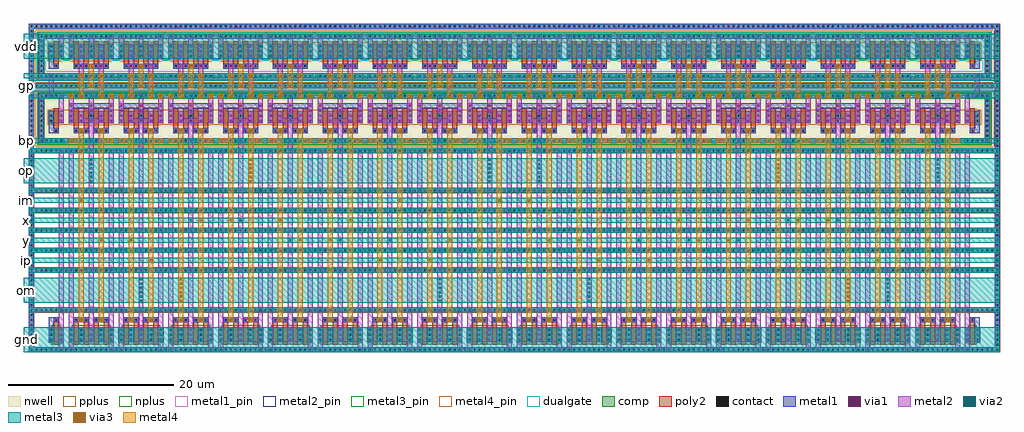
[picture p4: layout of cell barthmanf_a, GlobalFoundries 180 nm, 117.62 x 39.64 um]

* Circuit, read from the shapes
.subckt barthmanf_a bp gnd gp im ip om op vdd vreg x y
XM1 gnd barthmanf_edge_1/lo barthmanf_edge_1/lo gnd nfet_03v3 w=1.8u l=0.6u
XM2 barthmanf_cell_0/d1 im gnd gnd nfet_03v3 w=1.8u l=0.6u
XM3 op im barthmanf_cell_0/d1 gnd nfet_03v3 w=1.8u l=0.6u
XM4 barthmanf_cell_0/d2 y op gnd nfet_03v3 w=1.8u l=0.6u
XM5 gnd y barthmanf_cell_0/d2 gnd nfet_03v3 w=1.8u l=0.6u
XM6 barthmanf_cell_2/d1 y gnd gnd nfet_03v3 w=1.8u l=0.6u
XM7 om y barthmanf_cell_2/d1 gnd nfet_03v3 w=1.8u l=0.6u
XM8 barthmanf_cell_2/d2 ip om gnd nfet_03v3 w=1.8u l=0.6u
XM9 gnd ip barthmanf_cell_2/d2 gnd nfet_03v3 w=1.8u l=0.6u
XM10 barthmanf_cell_3/d1 om gnd gnd nfet_03v3 w=1.8u l=0.6u
XM11 x om barthmanf_cell_3/d1 gnd nfet_03v3 w=1.8u l=0.6u
XM12 barthmanf_cell_3/d2 x x gnd nfet_03v3 w=1.8u l=0.6u
XM13 gnd x barthmanf_cell_3/d2 gnd nfet_03v3 w=1.8u l=0.6u
XM14 barthmanf_cell_4/d1 x gnd gnd nfet_03v3 w=1.8u l=0.6u
XM15 x x barthmanf_cell_4/d1 gnd nfet_03v3 w=1.8u l=0.6u
XM16 barthmanf_cell_4/d2 op x gnd nfet_03v3 w=1.8u l=0.6u
XM17 gnd op barthmanf_cell_4/d2 gnd nfet_03v3 w=1.8u l=0.6u
XM18 barthmanf_cell_5/d1 x gnd gnd nfet_03v3 w=1.8u l=0.6u
XM19 y x barthmanf_cell_5/d1 gnd nfet_03v3 w=1.8u l=0.6u
XM20 barthmanf_cell_5/d2 y y gnd nfet_03v3 w=1.8u l=0.6u
XM21 gnd y barthmanf_cell_5/d2 gnd nfet_03v3 w=1.8u l=0.6u
XM22 barthmanf_cell_6/d1 y gnd gnd nfet_03v3 w=1.8u l=0.6u
XM23 y y barthmanf_cell_6/d1 gnd nfet_03v3 w=1.8u l=0.6u
XM24 barthmanf_cell_6/d2 x y gnd nfet_03v3 w=1.8u l=0.6u
XM25 gnd x barthmanf_cell_6/d2 gnd nfet_03v3 w=1.8u l=0.6u
XM26 barthmanf_cell_7/d1 ip gnd gnd nfet_03v3 w=1.8u l=0.6u
XM27 y ip barthmanf_cell_7/d1 gnd nfet_03v3 w=1.8u l=0.6u
XM28 barthmanf_cell_7/d2 im y gnd nfet_03v3 w=1.8u l=0.6u
XM29 gnd im barthmanf_cell_7/d2 gnd nfet_03v3 w=1.8u l=0.6u
XM30 barthmanf_cell_8/d1 ip gnd gnd nfet_03v3 w=1.8u l=0.6u
XM31 om ip barthmanf_cell_8/d1 gnd nfet_03v3 w=1.8u l=0.6u
XM32 barthmanf_cell_8/d2 y om gnd nfet_03v3 w=1.8u l=0.6u
XM33 gnd y barthmanf_cell_8/d2 gnd nfet_03v3 w=1.8u l=0.6u
XM34 barthmanf_cell_9/d1 y gnd gnd nfet_03v3 w=1.8u l=0.6u
XM35 op y barthmanf_cell_9/d1 gnd nfet_03v3 w=1.8u l=0.6u
XM36 barthmanf_cell_9/d2 im op gnd nfet_03v3 w=1.8u l=0.6u
XM37 gnd im barthmanf_cell_9/d2 gnd nfet_03v3 w=1.8u l=0.6u
XM38 barthmanf_cell_10/d2 im gnd gnd nfet_03v3 w=1.8u l=0.6u
XM39 op im barthmanf_cell_10/d2 gnd nfet_03v3 w=1.8u l=0.6u
XM40 barthmanf_cell_10/d1 y op gnd nfet_03v3 w=1.8u l=0.6u
XM41 gnd y barthmanf_cell_10/d1 gnd nfet_03v3 w=1.8u l=0.6u
XM42 barthmanf_cell_11/d2 y gnd gnd nfet_03v3 w=1.8u l=0.6u
XM43 om y barthmanf_cell_11/d2 gnd nfet_03v3 w=1.8u l=0.6u
XM44 barthmanf_cell_11/d1 ip om gnd nfet_03v3 w=1.8u l=0.6u
XM45 gnd ip barthmanf_cell_11/d1 gnd nfet_03v3 w=1.8u l=0.6u
XM46 barthmanf_cell_12/d2 im gnd gnd nfet_03v3 w=1.8u l=0.6u
XM47 y im barthmanf_cell_12/d2 gnd nfet_03v3 w=1.8u l=0.6u
XM48 barthmanf_cell_12/d1 ip y gnd nfet_03v3 w=1.8u l=0.6u
XM49 gnd ip barthmanf_cell_12/d1 gnd nfet_03v3 w=1.8u l=0.6u
XM50 barthmanf_cell_13/d2 x gnd gnd nfet_03v3 w=1.8u l=0.6u
XM51 y x barthmanf_cell_13/d2 gnd nfet_03v3 w=1.8u l=0.6u
XM52 barthmanf_cell_13/d1 y y gnd nfet_03v3 w=1.8u l=0.6u
XM53 gnd y barthmanf_cell_13/d1 gnd nfet_03v3 w=1.8u l=0.6u
XM54 barthmanf_cell_14/d2 y gnd gnd nfet_03v3 w=1.8u l=0.6u
XM55 y y barthmanf_cell_14/d2 gnd nfet_03v3 w=1.8u l=0.6u
XM56 barthmanf_cell_14/d1 x y gnd nfet_03v3 w=1.8u l=0.6u
XM57 gnd x barthmanf_cell_14/d1 gnd nfet_03v3 w=1.8u l=0.6u
XM58 barthmanf_cell_15/d2 op gnd gnd nfet_03v3 w=1.8u l=0.6u
XM59 x op barthmanf_cell_15/d2 gnd nfet_03v3 w=1.8u l=0.6u
XM60 barthmanf_cell_15/d1 x x gnd nfet_03v3 w=1.8u l=0.6u
XM61 gnd x barthmanf_cell_15/d1 gnd nfet_03v3 w=1.8u l=0.6u
XM62 barthmanf_cell_16/d2 x gnd gnd nfet_03v3 w=1.8u l=0.6u
XM63 x x barthmanf_cell_16/d2 gnd nfet_03v3 w=1.8u l=0.6u
XM64 barthmanf_cell_16/d1 om x gnd nfet_03v3 w=1.8u l=0.6u
XM65 gnd om barthmanf_cell_16/d1 gnd nfet_03v3 w=1.8u l=0.6u
XM66 barthmanf_cell_17/d2 ip gnd gnd nfet_03v3 w=1.8u l=0.6u
XM67 om ip barthmanf_cell_17/d2 gnd nfet_03v3 w=1.8u l=0.6u
XM68 barthmanf_cell_17/d1 y om gnd nfet_03v3 w=1.8u l=0.6u
XM69 gnd y barthmanf_cell_17/d1 gnd nfet_03v3 w=1.8u l=0.6u
XM70 barthmanf_cell_18/d2 y gnd gnd nfet_03v3 w=1.8u l=0.6u
XM71 op y barthmanf_cell_18/d2 gnd nfet_03v3 w=1.8u l=0.6u
XM72 barthmanf_cell_18/d1 im op gnd nfet_03v3 w=1.8u l=0.6u
XM73 gnd im barthmanf_cell_18/d1 gnd nfet_03v3 w=1.8u l=0.6u
XM74 barthmanf_edge_19/lo barthmanf_edge_19/lo gnd gnd nfet_03v3 w=1.8u l=0.6u
XM75 vreg barthmanf_edge_1/hi barthmanf_edge_1/hi bp pfet_03v3 w=1.5u l=0.6u
XM76 vdd barthmanf_edge_1/hih barthmanf_edge_1/hih vdd pfet_06v0 w=1.8u l=0.6u
XM77 op im vreg bp pfet_03v3 w=1.5u l=0.6u m=8
XM78 vreg gp vdd vdd pfet_06v0 w=1.8u l=0.6u m=72
XM79 op y vreg bp pfet_03v3 w=1.5u l=0.6u m=8
XM80 om y vreg bp pfet_03v3 w=1.5u l=0.6u m=8
XM81 om ip vreg bp pfet_03v3 w=1.5u l=0.6u m=8
XM82 x om vreg bp pfet_03v3 w=1.5u l=0.6u m=4
XM83 x x vreg bp pfet_03v3 w=1.5u l=0.6u m=8
XM84 x op vreg bp pfet_03v3 w=1.5u l=0.6u m=4
XM85 y x vreg bp pfet_03v3 w=1.5u l=0.6u m=8
XM86 y y vreg bp pfet_03v3 w=1.5u l=0.6u m=8
XM87 y ip vreg bp pfet_03v3 w=1.5u l=0.6u m=4
XM88 y im vreg bp pfet_03v3 w=1.5u l=0.6u m=4
XM89 barthmanf_edge_19/hi barthmanf_edge_19/hi vreg bp pfet_03v3 w=1.5u l=0.6u
XM90 barthmanf_edge_19/hih barthmanf_edge_19/hih vdd vdd pfet_06v0 w=1.8u l=0.6u
.ends

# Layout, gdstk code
from math import pi, radians
import gdstk
lib = gdstk.Library(unit=1e-6, precision=1e-09)
def R(c, l, rs):  # rectangles x0, y0, x1, y1
    for r in rs: c.add(gdstk.rectangle(r[:2], r[2:], *l))
def A(c, l, x, y, w, h, nx, ny, dx, dy):  # array of equal rectangles
    R(c, l, [(x+i*dx, y+j*dy, x+i*dx+w, y+j*dy+h) for i in range(nx) for j in range(ny)])
nwell = (21, 0)
comp = (22, 0)
poly2 = (30, 0)
pplus = (31, 0)
nplus = (32, 0)
contact = (33, 0)
metal1 = (34, 0)
metal1_pin = (34, 10)
via1 = (35, 0)
metal2 = (36, 0)
metal2_pin = (36, 10)
via2 = (38, 0)
via3 = (40, 0)
metal3 = (42, 0)
metal3_pin = (42, 10)
metal4 = (46, 0)
metal4_pin = (46, 10)
dualgate = (55, 0)

barthmanf_cell = lib.new_cell('barthmanf_cell')
R(barthmanf_cell, nwell, [(-36,18.3,-29.4,24.9), (-36,26.1,-29.4,32.1)])
A(barthmanf_cell, comp, -36, -6.6, 6.6, 0.6, 1, 3, 0, 4.8)
A(barthmanf_cell, comp, -36, 5.4, 6.6, 0.6, 1, 4, 0, 2.4)
R(barthmanf_cell, comp, [(-35.4,-5.4,-30,-3.6), (-36,17.4,-29.4,18), (-35.4,18.6,-30,19.2), (-35.4,21,-30,22.5), (-35.4,24,-30,24.6), (-36,25.2,-29.4,25.8), (-35.4,26.4,-30,27), (-35.4,28.8,-30,30.6), (-35.4,31.2,-30,31.8), (-36,32.4,-29.4,33)])
A(barthmanf_cell, poly2, -34.8, -5.7, 0.6, 2.7, 4, 2, 1.2, 33.9)
A(barthmanf_cell, poly2, -34.8, 20.4, 0.6, 2.4, 4, 1, 1.2, 0)
R(barthmanf_cell, poly2, [(-34.8,-3,-33,-2.4), (-32.4,-3,-30.6,-2.4), (-34.8,19.8,-33,20.4), (-32.4,19.8,-30.6,20.4), (-34.8,27.6,-30.6,28.2)])
A(barthmanf_cell, pplus, -36.02, -6.62, 6.64, 0.64, 1, 3, 0, 4.8)
A(barthmanf_cell, pplus, -36.02, 5.38, 6.64, 0.64, 1, 4, 0, 2.4)
R(barthmanf_cell, pplus, [(-36.02,17.38,-29.38,17.71), (-36.16,17.71,-29.24,18.16), (-35.03,20.77,-30.37,20.84), (-35.56,20.84,-29.84,22.66), (-35.03,22.66,-30.37,22.73), (-36.16,25.04,-29.24,25.96), (-35.03,28.57,-30.37,28.64), (-35.56,28.64,-29.84,30.76), (-35.03,30.76,-30.37,30.83), (-36.16,32.24,-29.24,32.69), (-36.02,32.69,-29.38,33.02)])
R(barthmanf_cell, nplus, [(-35.03,-5.63,-30.37,-5.42), (-35.42,-5.42,-29.98,-3.58), (-35.03,-3.58,-30.37,-3.37), (-35.56,18.44,-29.84,18.89), (-35.42,18.89,-29.98,19.22), (-35.42,23.98,-29.98,24.31), (-35.56,24.31,-29.84,24.76), (-35.56,26.24,-29.84,26.69), (-35.42,26.69,-29.98,27.02), (-35.42,31.18,-29.98,31.51), (-35.56,31.51,-29.84,31.96)])
A(barthmanf_cell, contact, -35.81, -6.41, 0.22, 0.22, 11, 3, 0.6, 4.8)
A(barthmanf_cell, contact, -35.21, -5.21, 0.22, 0.22, 5, 3, 1.2, 0.6)
A(barthmanf_cell, contact, -34.61, -2.81, 0.22, 0.22, 3, 2, 0.6, 22.8)
A(barthmanf_cell, contact, -32.21, -2.81, 0.22, 0.22, 3, 2, 0.6, 22.8)
A(barthmanf_cell, contact, -35.81, 5.59, 0.22, 0.22, 11, 4, 0.6, 2.4)
A(barthmanf_cell, contact, -35.81, 17.59, 0.22, 0.22, 11, 2, 0.6, 7.8)
A(barthmanf_cell, contact, -35.21, 18.79, 0.22, 0.22, 9, 2, 0.6, 5.4)
A(barthmanf_cell, contact, -35.21, 21.19, 0.22, 0.22, 5, 2, 1.2, 0.6)
A(barthmanf_cell, contact, -35.21, 26.59, 0.22, 0.22, 9, 2, 0.6, 4.8)
A(barthmanf_cell, contact, -34.61, 27.79, 0.22, 0.22, 7, 1, 0.6, 0)
A(barthmanf_cell, contact, -35.21, 28.99, 0.22, 0.22, 5, 3, 1.2, 0.6)
A(barthmanf_cell, contact, -35.81, 32.59, 0.22, 0.22, 11, 1, 0.6, 0)
A(barthmanf_cell, metal1, -36, -6.6, 6.6, 0.6, 1, 3, 0, 4.8)
A(barthmanf_cell, metal1, -35.4, -5.4, 0.6, 1.8, 5, 2, 1.2, 34.2)
A(barthmanf_cell, metal1, -36, 5.4, 6.6, 0.6, 1, 4, 0, 2.4)
A(barthmanf_cell, metal1, -35.4, 21, 0.6, 1.8, 3, 1, 2.4, 0)
A(barthmanf_cell, metal1, -36, 24, 6.6, 0.6, 1, 3, 0, 1.2)
R(barthmanf_cell, metal1, [(-34.8,-3,-33,-2.4), (-32.4,-3,-30.6,-2.4), (-36,17.4,-29.4,18), (-36,18.6,-29.4,19.2), (-34.8,19.8,-33,20.4), (-32.4,19.8,-30.6,20.4), (-34.2,21,-33.6,22.5), (-31.8,21,-31.2,22.5), (-35.4,22.8,-30,23.4), (-34.8,27.6,-30.6,28.2), (-36,31.2,-29.4,31.8), (-36,32.4,-29.4,33)])
R(barthmanf_cell, metal1_pin, [(-36,18.6,-35.4,19.2), (-30,18.6,-29.4,19.2)])
A(barthmanf_cell, via1, -35.23, -6.43, 0.26, 0.26, 1, 3, 0, 4.8)
A(barthmanf_cell, via1, -30.43, -6.43, 0.26, 0.26, 1, 3, 0, 4.8)
A(barthmanf_cell, via1, -35.23, -5.23, 0.26, 0.26, 3, 3, 2.4, 0.6)
A(barthmanf_cell, via1, -35.23, 5.57, 0.26, 0.26, 1, 4, 0, 2.4)
A(barthmanf_cell, via1, -30.43, 5.57, 0.26, 0.26, 1, 4, 0, 2.4)
A(barthmanf_cell, via1, -35.23, 22.37, 0.26, 0.26, 3, 2, 2.4, 0.6)
A(barthmanf_cell, via1, -35.23, 28.97, 0.26, 0.26, 5, 3, 1.2, 0.6)
A(barthmanf_cell, via1, -35.23, 31.37, 0.26, 0.26, 3, 1, 2.4, 0)
R(barthmanf_cell, via1, [(-34.03,-2.83,-33.77,-2.57), (-31.63,-2.83,-31.37,-2.57), (-35.23,17.57,-34.97,17.83), (-30.43,17.57,-30.17,17.83), (-35.23,18.77,-34.97,19.03), (-30.43,18.77,-30.17,19.03), (-34.03,19.97,-33.77,20.23), (-31.63,19.97,-31.37,20.23), (-35.23,21.17,-34.97,21.43), (-34.03,21.17,-33.77,21.43), (-31.63,21.17,-31.37,21.43), (-30.43,21.17,-30.17,21.43), (-35.23,21.77,-34.97,22.03), (-34.03,21.77,-33.77,22.03), (-31.63,21.77,-31.37,22.03), (-30.43,21.77,-30.17,22.03), (-32.83,27.77,-32.57,28.03)])
A(barthmanf_cell, metal2, -35.4, 28.8, 0.6, 3, 3, 1, 2.4, 0)
R(barthmanf_cell, metal2, [(-35.4,-6.6,-34.8,18), (-30.6,-6.6,-30,18), (-33,-5.4,-32.4,21), (-34.2,-3,-33.6,-2.4), (-31.8,-3,-31.2,-2.4), (-35.4,18.6,-34.8,19.2), (-30.6,18.6,-30,19.2), (-34.2,19.8,-33.6,20.4), (-31.8,19.8,-31.2,20.4), (-35.4,21,-34.8,24.6), (-34.2,21,-31.2,21.6), (-30.6,21,-30,24.6), (-34.2,21.6,-33.6,22.5), (-31.8,21.6,-31.2,22.5), (-33,22.2,-32.4,24.6), (-34.2,24,-33.6,30.6), (-31.8,24,-31.2,30.6), (-33,27.6,-32.4,28.2)])
R(barthmanf_cell, metal2_pin, [(-33,-0.6,-32.4,16.8)])
A(barthmanf_cell, via2, -35.23, -5.23, 0.26, 0.26, 1, 3, 0, 0.6)
A(barthmanf_cell, via2, -30.43, -5.23, 0.26, 0.26, 1, 3, 0, 0.6)
A(barthmanf_cell, via2, -35.23, 3.17, 0.26, 0.26, 1, 5, 0, 2.4)
A(barthmanf_cell, via2, -30.43, 3.17, 0.26, 0.26, 1, 5, 0, 2.4)
A(barthmanf_cell, via2, -35.23, 24.17, 0.26, 0.26, 5, 1, 1.2, 0)
A(barthmanf_cell, via2, -35.23, 28.97, 0.26, 0.26, 3, 3, 2.4, 0.6)
A(barthmanf_cell, via2, -35.23, 31.37, 0.26, 0.26, 3, 1, 2.4, 0)
R(barthmanf_cell, via2, [(-35.23,-6.43,-34.97,-6.17), (-30.43,-6.43,-30.17,-6.17), (-34.03,-2.83,-33.77,-2.57), (-31.63,-2.83,-31.37,-2.57), (-35.23,-1.63,-34.97,-1.37), (-30.43,-1.63,-30.17,-1.37), (-35.23,17.57,-34.97,17.83), (-30.43,17.57,-30.17,17.83), (-35.23,18.77,-34.97,19.03), (-30.43,18.77,-30.17,19.03), (-34.03,19.97,-33.77,20.23), (-31.63,19.97,-31.37,20.23), (-34.03,26.57,-33.77,26.83), (-31.63,26.57,-31.37,26.83), (-32.83,27.77,-32.57,28.03)])
R(barthmanf_cell, via3, [(-34.03,-2.83,-33.77,-2.57), (-31.63,-2.83,-31.37,-2.57), (-34.03,19.97,-33.77,20.23), (-31.63,19.97,-31.37,20.23), (-35.23,24.17,-34.97,24.43), (-34.03,24.17,-33.77,24.43), (-31.63,24.17,-31.37,24.43), (-30.43,24.17,-30.17,24.43), (-32.83,25.37,-32.57,25.63), (-34.03,26.57,-33.77,26.83), (-31.63,26.57,-31.37,26.83), (-32.83,27.77,-32.57,28.03)])
A(barthmanf_cell, metal3, -36, 3, 6.6, 0.6, 1, 9, 0, 1.2)
R(barthmanf_cell, metal3, [(-36,-6.6,-29.4,-3.6), (-34.2,-3,-33.6,-2.4), (-31.8,-3,-31.2,-2.4), (-36,-1.8,-29.4,-1.2), (-36,-0.6,-29.4,2.4), (-36,13.8,-29.4,16.8), (-36,17.4,-29.4,18), (-36,18.6,-29.4,19.2), (-34.2,19.8,-33.6,20.4), (-31.8,19.8,-31.2,20.4), (-36,24,-29.4,24.9), (-36,25.2,-29.4,25.8), (-36,26.1,-29.4,27), (-33,27.6,-32.4,28.2), (-36,28.8,-29.4,31.8)])
A(barthmanf_cell, metal3_pin, -36, 4.2, 6.6, 0.6, 1, 4, 0, 2.4)
R(barthmanf_cell, metal3_pin, [(-36,-6.6,-29.4,-3.6), (-36,-0.6,-29.4,2.4), (-36,13.8,-29.4,16.8), (-36,25.2,-29.4,25.8), (-36,26.1,-35.4,27), (-30,26.1,-29.4,27), (-36,28.8,-29.4,31.8)])
R(barthmanf_cell, metal4, [(-34.2,-3,-33.6,18.6), (-31.8,-3,-31.2,18.6), (-35.4,18.6,-33.6,19.2), (-31.8,18.6,-30,19.2), (-34.2,19.2,-33.6,20.4), (-31.8,19.2,-31.2,20.4), (-35.4,24,-34.8,24.6), (-34.2,24,-33.6,27), (-31.8,24,-31.2,27), (-30.6,24,-30,24.6), (-33,25.2,-32.4,28.2)])
R(barthmanf_cell, metal4_pin, [(-34.2,-0.6,-33.6,16.8), (-31.8,-0.6,-31.2,16.8)])
R(barthmanf_cell, dualgate, [(-35.64,26.16,-29.76,27.24), (-35.2,28.4,-30.2,28.56), (-35.64,28.56,-29.76,32.04)])
barthmanf_cell.add(gdstk.Label('d1', (-33.9,-4.5), layer=34, texttype=0))
barthmanf_cell.add(gdstk.Label('d2', (-31.5,-4.5), layer=34, texttype=0))
barthmanf_cell.add(gdstk.Label('gnd', (-32.7,32.7), layer=34, texttype=0))
barthmanf_cell.add(gdstk.Label('gnd', (-32.7,25.5), layer=34, texttype=0))
barthmanf_cell.add(gdstk.Label('inl', (-33.9,8.1), layer=46, texttype=10))
barthmanf_cell.add(gdstk.Label('inr', (-31.5,8.1), layer=46, texttype=10))
barthmanf_cell.add(gdstk.Label('out', (-32.7,8.1), layer=36, texttype=10))
barthmanf_cell.add(gdstk.Label('vdd', (-32.7,30.3), layer=42, texttype=10))
barthmanf_cell.add(gdstk.Label('gp', (-32.7,25.5), layer=42, texttype=10))
barthmanf_cell.add(gdstk.Label('bp', (-35.7,18.9), layer=34, texttype=10))
barthmanf_cell.add(gdstk.Label('bp', (-29.7,18.9), layer=34, texttype=10))
barthmanf_cell.add(gdstk.Label('vreg', (-35.7,26.55), layer=42, texttype=10))
barthmanf_cell.add(gdstk.Label('vreg', (-29.7,26.55), layer=42, texttype=10))
barthmanf_cell.add(gdstk.Label('op', (-32.7,15.3), layer=42, texttype=10))
barthmanf_cell.add(gdstk.Label('im', (-32.7,11.7), layer=42, texttype=10))
barthmanf_cell.add(gdstk.Label('x', (-32.7,9.3), layer=42, texttype=10))
barthmanf_cell.add(gdstk.Label('y', (-32.7,6.9), layer=42, texttype=10))
barthmanf_cell.add(gdstk.Label('ip', (-32.7,4.5), layer=42, texttype=10))
barthmanf_cell.add(gdstk.Label('om', (-32.7,0.9), layer=42, texttype=10))
barthmanf_cell.add(gdstk.Label('gnd', (-32.7,-5.1), layer=42, texttype=10))

barthmanf_edge = lib.new_cell('barthmanf_edge')
R(barthmanf_edge, nwell, [(-36.9,18.3,-33,24.9), (-36.9,26.1,-33,32.1)])
A(barthmanf_edge, comp, -37.8, -6.6, 4.8, 0.6, 1, 3, 0, 4.8)
A(barthmanf_edge, comp, -37.8, 3.6, 0.6, 1.8, 1, 4, 0, 2.4)
A(barthmanf_edge, comp, -37.8, 5.4, 4.8, 0.6, 1, 4, 0, 2.4)
R(barthmanf_edge, comp, [(-37.8,-6,-37.2,-1.8), (-35.4,-5.4,-33.6,-3.6), (-37.8,-1.2,-37.2,3), (-37.8,13.2,-37.2,17.4), (-37.8,17.4,-33,18), (-37.8,18,-37.2,25.2), (-36.6,18.6,-33.6,19.2), (-36.6,19.2,-36,24), (-35.4,21,-33.6,22.5), (-36.6,24,-33.6,24.6), (-37.8,25.2,-33,25.8), (-37.8,25.8,-37.2,32.4), (-36.6,26.4,-33.6,27), (-36.6,27,-36,31.2), (-35.4,28.8,-33.6,30.6), (-36.6,31.2,-33.6,31.8), (-37.8,32.4,-33,33)])
R(barthmanf_edge, poly2, [(-34.8,-5.7,-34.2,-2.4), (-34.8,19.8,-34.2,22.8), (-34.8,27.6,-34.2,30.9)])
A(barthmanf_edge, pplus, -37.82, -6.62, 4.84, 0.64, 1, 3, 0, 4.8)
A(barthmanf_edge, pplus, -37.82, 3.62, 0.64, 1.76, 1, 4, 0, 2.4)
A(barthmanf_edge, pplus, -37.82, 5.38, 4.84, 0.64, 1, 4, 0, 2.4)
R(barthmanf_edge, pplus, [(-37.82,-5.98,-37.18,-1.82), (-37.82,-1.18,-37.18,2.98), (-37.82,13.22,-37.18,17.38), (-37.82,17.38,-32.98,17.71), (-37.82,17.71,-32.84,18.16), (-37.82,18.16,-37.04,25.04), (-35.03,20.77,-33.97,20.84), (-35.56,20.84,-33.44,22.66), (-35.03,22.66,-33.97,22.73), (-37.82,25.04,-32.84,25.96), (-37.82,25.96,-37.04,32.24), (-35.03,28.57,-33.97,28.64), (-35.56,28.64,-33.44,30.76), (-35.03,30.76,-33.97,30.83), (-37.82,32.24,-32.84,32.69), (-37.82,32.69,-32.98,33.02)])
R(barthmanf_edge, nplus, [(-35.03,-5.63,-33.97,-5.42), (-35.42,-5.42,-33.58,-3.58), (-35.03,-3.58,-33.97,-3.37), (-36.76,18.44,-33.44,18.89), (-36.76,18.89,-33.58,19.22), (-36.76,19.22,-35.98,23.98), (-36.76,23.98,-33.58,24.31), (-36.76,24.31,-33.44,24.76), (-36.76,26.24,-33.44,26.69), (-36.76,26.69,-33.58,27.02), (-36.76,27.02,-35.98,31.18), (-36.76,31.18,-33.58,31.51), (-36.76,31.51,-33.44,31.96)])
A(barthmanf_edge, contact, -37.61, -6.41, 0.22, 0.22, 8, 3, 0.6, 4.8)
A(barthmanf_edge, contact, -37.61, -5.81, 0.22, 0.22, 1, 7, 0, 0.6)
A(barthmanf_edge, contact, -35.21, -5.21, 0.22, 0.22, 1, 3, 0, 0.6)
A(barthmanf_edge, contact, -34.01, -5.21, 0.22, 0.22, 1, 3, 0, 0.6)
A(barthmanf_edge, contact, -37.61, -1.01, 0.22, 0.22, 1, 7, 0, 0.6)
A(barthmanf_edge, contact, -37.61, 3.79, 0.22, 0.22, 1, 3, 0, 0.6)
A(barthmanf_edge, contact, -37.61, 5.59, 0.22, 0.22, 8, 4, 0.6, 2.4)
A(barthmanf_edge, contact, -37.61, 6.19, 0.22, 0.22, 1, 3, 0, 0.6)
A(barthmanf_edge, contact, -37.61, 8.59, 0.22, 0.22, 1, 3, 0, 0.6)
A(barthmanf_edge, contact, -37.61, 10.99, 0.22, 0.22, 1, 3, 0, 0.6)
A(barthmanf_edge, contact, -37.61, 13.39, 0.22, 0.22, 1, 7, 0, 0.6)
A(barthmanf_edge, contact, -37.61, 17.59, 0.22, 0.22, 8, 2, 0.6, 7.8)
A(barthmanf_edge, contact, -37.61, 18.19, 0.22, 0.22, 1, 5, 0, 0.6)
A(barthmanf_edge, contact, -36.41, 18.79, 0.22, 0.22, 5, 2, 0.6, 5.4)
A(barthmanf_edge, contact, -36.41, 19.39, 0.22, 0.22, 1, 3, 0, 0.6)
A(barthmanf_edge, contact, -37.61, 21.19, 0.22, 0.22, 4, 2, 1.2, 0.6)
A(barthmanf_edge, contact, -37.61, 22.39, 0.22, 0.22, 1, 5, 0, 0.6)
A(barthmanf_edge, contact, -36.41, 22.39, 0.22, 0.22, 1, 3, 0, 0.6)
A(barthmanf_edge, contact, -37.61, 25.99, 0.22, 0.22, 1, 5, 0, 0.6)
A(barthmanf_edge, contact, -36.41, 26.59, 0.22, 0.22, 5, 2, 0.6, 4.8)
A(barthmanf_edge, contact, -36.41, 27.19, 0.22, 0.22, 1, 3, 0, 0.6)
A(barthmanf_edge, contact, -37.61, 28.99, 0.22, 0.22, 4, 3, 1.2, 0.6)
A(barthmanf_edge, contact, -37.61, 30.79, 0.22, 0.22, 1, 3, 0, 0.6)
A(barthmanf_edge, contact, -37.61, 32.59, 0.22, 0.22, 8, 1, 0.6, 0)
R(barthmanf_edge, contact, [(-34.61,-2.81,-34.39,-2.59), (-34.61,19.99,-34.39,20.21), (-34.61,27.79,-34.39,28.01), (-36.41,30.79,-36.19,31.01)])
A(barthmanf_edge, metal1, -37.8, -6.6, 4.8, 0.6, 1, 3, 0, 4.8)
A(barthmanf_edge, metal1, -37.8, 3.6, 0.6, 1.8, 1, 4, 0, 2.4)
A(barthmanf_edge, metal1, -37.8, 5.4, 4.8, 0.6, 1, 4, 0, 2.4)
R(barthmanf_edge, metal1, [(-37.8,-6,-37.2,-1.8), (-35.4,-5.4,-34.8,-3), (-34.2,-5.4,-33.6,-3.6), (-35.4,-3,-34.2,-2.4), (-37.8,-1.2,-37.2,3), (-37.8,13.2,-37.2,17.4), (-37.8,17.4,-33,18), (-37.8,18,-37.2,25.2), (-36.6,18.6,-33,19.2), (-36.6,19.2,-36,24), (-35.4,19.8,-34.2,20.4), (-35.4,20.4,-34.8,22.5), (-34.2,21,-33.6,22.5), (-36.6,24,-33.6,24.6), (-37.8,25.2,-33,25.8), (-37.8,25.8,-37.2,32.4), (-36.6,26.4,-33,27), (-36.6,27,-36,31.2), (-35.4,27.6,-34.2,28.2), (-35.4,28.2,-34.8,30.6), (-34.2,28.8,-33.6,30.6), (-36.6,31.2,-33,31.8), (-37.8,32.4,-33,33)])
A(barthmanf_edge, via1, -34.03, -5.23, 0.26, 0.26, 1, 3, 0, 0.6)
A(barthmanf_edge, via1, -34.03, 3.17, 0.26, 0.26, 1, 5, 0, 2.4)
A(barthmanf_edge, via1, -34.03, 28.97, 0.26, 0.26, 1, 3, 0, 0.6)
R(barthmanf_edge, via1, [(-34.03,-6.43,-33.77,-6.17), (-34.03,-1.63,-33.77,-1.37), (-34.03,17.57,-33.77,17.83), (-36.43,18.77,-36.17,19.03), (-34.03,21.17,-33.77,21.43), (-34.03,21.77,-33.77,22.03), (-34.03,31.37,-33.77,31.63)])
R(barthmanf_edge, metal2, [(-34.2,-6.6,-33.6,18), (-36.6,18.6,-36,19.2), (-34.2,21,-33.6,24.6), (-35.4,24,-34.8,27), (-34.2,28.8,-33.6,31.8)])
A(barthmanf_edge, via2, -34.03, -6.43, 0.26, 0.26, 1, 3, 0, 4.8)
A(barthmanf_edge, via2, -34.03, 5.57, 0.26, 0.26, 1, 4, 0, 2.4)
A(barthmanf_edge, via2, -34.03, 28.97, 0.26, 0.26, 1, 3, 0, 0.6)
R(barthmanf_edge, via2, [(-34.03,17.57,-33.77,17.83), (-36.43,18.77,-36.17,19.03), (-35.23,24.17,-34.97,24.43), (-34.03,24.17,-33.77,24.43), (-35.23,26.57,-34.97,26.83), (-34.03,31.37,-33.77,31.63)])
A(barthmanf_edge, metal3, -37.8, 3, 4.8, 0.6, 1, 9, 0, 1.2)
R(barthmanf_edge, metal3, [(-37.8,-6.6,-33,-3.6), (-37.8,-1.8,-33,-1.2), (-37.8,-0.6,-33,2.4), (-37.8,13.8,-33,16.8), (-37.8,17.4,-33,18), (-37.8,18.6,-33,19.2), (-37.8,24,-33,24.9), (-37.8,25.2,-33,25.8), (-37.8,26.1,-33,27), (-37.8,28.8,-33,31.8)])
A(barthmanf_edge, metal3_pin, -37.8, 4.2, 4.8, 0.6, 1, 4, 0, 2.4)
R(barthmanf_edge, metal3_pin, [(-37.8,-6.6,-33,-3.6), (-37.8,-0.6,-33,2.4), (-37.8,13.8,-33,16.8), (-37.8,18.6,-33,19.2), (-37.8,25.2,-33,25.8), (-37.8,26.4,-33,27), (-37.8,28.8,-33,31.8)])
R(barthmanf_edge, dualgate, [(-36.84,26.16,-33.36,27.24), (-36.84,27.24,-35.76,28.56), (-35.2,28.4,-33.8,28.56), (-36.84,28.56,-33.36,32.04)])
barthmanf_edge.add(gdstk.Label('hih', (-35.1,27.9), layer=34, texttype=0))
barthmanf_edge.add(gdstk.Label('hi', (-35.1,20.1), layer=34, texttype=0))
barthmanf_edge.add(gdstk.Label('lo', (-35.1,-2.7), layer=34, texttype=0))
barthmanf_edge.add(gdstk.Label('vdd', (-35.4,30.3), layer=42, texttype=10))
barthmanf_edge.add(gdstk.Label('vreg', (-35.4,26.7), layer=42, texttype=10))
barthmanf_edge.add(gdstk.Label('gp', (-35.4,25.5), layer=42, texttype=10))
barthmanf_edge.add(gdstk.Label('bp', (-35.4,18.9), layer=42, texttype=10))
barthmanf_edge.add(gdstk.Label('op', (-35.4,15.3), layer=42, texttype=10))
barthmanf_edge.add(gdstk.Label('im', (-35.4,11.7), layer=42, texttype=10))
barthmanf_edge.add(gdstk.Label('x', (-35.4,9.3), layer=42, texttype=10))
barthmanf_edge.add(gdstk.Label('y', (-35.4,6.9), layer=42, texttype=10))
barthmanf_edge.add(gdstk.Label('ip', (-35.4,4.5), layer=42, texttype=10))
barthmanf_edge.add(gdstk.Label('om', (-35.4,0.9), layer=42, texttype=10))
barthmanf_edge.add(gdstk.Label('gnd', (-35.4,-5.1), layer=42, texttype=10))

barthmanf_a = lib.new_cell('barthmanf_a')
A(barthmanf_a, pplus, -41.84, 18.44, 0.28, 1.82, 19, 1, 6, 0)
A(barthmanf_a, pplus, -41.84, 26.24, 0.28, 2.12, 19, 1, 6, 0)
A(barthmanf_a, nplus, -41.84, 16.04, 0.28, 0.45, 19, 2, 6, 5.87)
A(barthmanf_a, nplus, -41.84, 23.84, 0.28, 0.45, 19, 2, 6, 5.27)
A(barthmanf_a, metal2, -15, 4.2, 0.6, 0.6, 3, 1, 6, 0)
A(barthmanf_a, metal2, 27, 4.2, 0.6, 0.6, 3, 1, 6, 0)
R(barthmanf_a, metal2, [(-33,-3,-32.4,0), (3,-3,3.6,0), (21,-3,21.6,0), (57,-3,57.6,0), (-27,6.6,-26.4,7.2), (-21,6.6,-20.4,7.2), (45,6.6,45.6,7.2), (51,6.6,51.6,7.2), (-39,11.4,-38.4,14.4), (9,11.4,9.6,14.4), (15,11.4,15.6,14.4), (63,11.4,63.6,14.4)])
A(barthmanf_a, via2, -32.83, -2.93, 0.26, 0.26, 1, 6, 0, 0.52)
A(barthmanf_a, via2, 3.17, -2.93, 0.26, 0.26, 1, 6, 0, 0.52)
A(barthmanf_a, via2, 21.17, -2.93, 0.26, 0.26, 1, 6, 0, 0.52)
A(barthmanf_a, via2, 57.17, -2.93, 0.26, 0.26, 1, 6, 0, 0.52)
A(barthmanf_a, via2, -14.83, 4.37, 0.26, 0.26, 3, 1, 6, 0)
A(barthmanf_a, via2, 27.17, 4.37, 0.26, 0.26, 3, 1, 6, 0)
A(barthmanf_a, via2, -38.83, 11.47, 0.26, 0.26, 1, 6, 0, 0.52)
A(barthmanf_a, via2, 9.17, 11.47, 0.26, 0.26, 1, 6, 0, 0.52)
A(barthmanf_a, via2, 15.17, 11.47, 0.26, 0.26, 1, 6, 0, 0.52)
A(barthmanf_a, via2, 63.17, 11.47, 0.26, 0.26, 1, 6, 0, 0.52)
R(barthmanf_a, via2, [(-26.83,6.77,-26.57,7.03), (-20.83,6.77,-20.57,7.03), (45.17,6.77,45.43,7.03), (51.17,6.77,51.43,7.03)])
A(barthmanf_a, via3, -28.03, -2.93, 0.26, 0.26, 1, 6, 0, 0.52)
A(barthmanf_a, via3, 52.37, -2.93, 0.26, 0.26, 1, 6, 0, 0.52)
A(barthmanf_a, via3, -19.63, 11.47, 0.26, 0.26, 1, 6, 0, 0.52)
A(barthmanf_a, via3, 43.97, 11.47, 0.26, 0.26, 1, 6, 0, 0.52)
R(barthmanf_a, via3, [(-31.63,1.97,-31.37,2.23), (-4.03,1.97,-3.77,2.23), (1.97,1.97,2.23,2.23), (22.37,1.97,22.63,2.23), (28.37,1.97,28.63,2.23), (55.97,1.97,56.23,2.23), (-37.63,4.37,-37.37,4.63), (-34.03,4.37,-33.77,4.63), (-13.63,4.37,-13.37,4.63), (-10.03,4.37,-9.77,4.63), (4.37,4.37,4.63,4.63), (7.97,4.37,8.23,4.63), (16.37,4.37,16.63,4.63), (19.97,4.37,20.23,4.63), (34.37,4.37,34.63,4.63), (37.97,4.37,38.23,4.63), (58.37,4.37,58.63,4.63), (61.97,4.37,62.23,4.63), (-25.63,6.77,-25.37,7.03), (-22.03,6.77,-21.77,7.03), (-16.03,6.77,-15.77,7.03), (-7.63,6.77,-7.37,7.03), (31.97,6.77,32.23,7.03), (40.37,6.77,40.63,7.03), (46.37,6.77,46.63,7.03), (49.97,6.77,50.23,7.03), (-40.03,9.17,-39.77,9.43), (-1.63,9.17,-1.37,9.43), (10.37,9.17,10.63,9.43), (13.97,9.17,14.23,9.43), (25.97,9.17,26.23,9.43), (64.37,9.17,64.63,9.43)])
A(barthmanf_a, metal3, -46.8, 1.8, 0.6, 0.6, 1, 4, 0, 2.4)
R(barthmanf_a, metal3, [(-46.8,-9,-46.2,-6), (-46.8,-3,-46.2,0), (-33,-3,-32.4,0), (-28.2,-3,-27.6,0), (3,-3,3.6,0), (21,-3,21.6,0), (52.2,-3,52.8,0), (57,-3,57.6,0), (-31.8,1.8,-31.2,2.4), (-4.2,1.8,-3.6,2.4), (1.8,1.8,2.4,2.4), (22.2,1.8,22.8,2.4), (28.2,1.8,28.8,2.4), (55.8,1.8,56.4,2.4), (-37.8,4.2,-37.2,4.8), (-34.2,4.2,-33.6,4.8), (-15,4.2,-14.4,4.8), (-13.8,4.2,-13.2,4.8), (-10.2,4.2,-9.6,4.8), (-9,4.2,-8.4,4.8), (-3,4.2,-2.4,4.8), (4.2,4.2,4.8,4.8), (7.8,4.2,8.4,4.8), (16.2,4.2,16.8,4.8), (19.8,4.2,20.4,4.8), (27,4.2,27.6,4.8), (33,4.2,33.6,4.8), (34.2,4.2,34.8,4.8), (37.8,4.2,38.4,4.8), (39,4.2,39.6,4.8), (58.2,4.2,58.8,4.8), (61.8,4.2,62.4,4.8), (-27,6.6,-26.4,7.2), (-25.8,6.6,-25.2,7.2), (-22.2,6.6,-21.6,7.2), (-21,6.6,-20.4,7.2), (-16.2,6.6,-15.6,7.2), (-7.8,6.6,-7.2,7.2), (31.8,6.6,32.4,7.2), (40.2,6.6,40.8,7.2), (45,6.6,45.6,7.2), (46.2,6.6,46.8,7.2), (49.8,6.6,50.4,7.2), (51,6.6,51.6,7.2), (-40.2,9,-39.6,9.6), (-1.8,9,-1.2,9.6), (10.2,9,10.8,9.6), (13.8,9,14.4,9.6), (25.8,9,26.4,9.6), (64.2,9,64.8,9.6), (-46.8,11.4,-46.2,14.4), (-39,11.4,-38.4,14.4), (-19.8,11.4,-19.2,14.4), (9,11.4,9.6,14.4), (15,11.4,15.6,14.4), (43.8,11.4,44.4,14.4), (63,11.4,63.6,14.4), (-46.8,16.2,-46.2,16.8), (-46.8,22.8,-46.2,23.4), (-46.8,24,-46.2,24.6), (-46.8,26.4,-46.2,29.4)])
A(barthmanf_a, metal3_pin, -46.8, 1.8, 0.6, 0.6, 1, 3, 0, 7.2)
R(barthmanf_a, metal3_pin, [(-46.8,-9,-46.2,-6), (-46.8,-3,-46.2,0), (-46.8,11.4,-46.2,14.4), (-46.8,22.8,-46.2,23.4), (-46.8,24,-46.2,24.6), (-46.8,26.4,-46.2,29.4)])
R(barthmanf_a, metal4, [(-28.2,-3,-27.6,0), (52.2,-3,52.8,0), (-31.8,1.8,-31.2,2.4), (-4.2,1.8,-3.6,2.4), (1.8,1.8,2.4,2.4), (22.2,1.8,22.8,2.4), (28.2,1.8,28.8,2.4), (55.8,1.8,56.4,2.4), (-37.8,4.2,-37.2,4.8), (-34.2,4.2,-33.6,4.8), (-13.8,4.2,-13.2,4.8), (-10.2,4.2,-9.6,4.8), (4.2,4.2,4.8,4.8), (7.8,4.2,8.4,4.8), (16.2,4.2,16.8,4.8), (19.8,4.2,20.4,4.8), (34.2,4.2,34.8,4.8), (37.8,4.2,38.4,4.8), (58.2,4.2,58.8,4.8), (61.8,4.2,62.4,4.8), (-25.8,6.6,-25.2,7.2), (-22.2,6.6,-21.6,7.2), (-16.2,6.6,-15.6,7.2), (-7.8,6.6,-7.2,7.2), (31.8,6.6,32.4,7.2), (40.2,6.6,40.8,7.2), (46.2,6.6,46.8,7.2), (49.8,6.6,50.4,7.2), (-40.2,9,-39.6,9.6), (-1.8,9,-1.2,9.6), (10.2,9,10.8,9.6), (13.8,9,14.4,9.6), (25.8,9,26.4,9.6), (64.2,9,64.8,9.6), (-19.8,11.4,-19.2,14.4), (43.8,11.4,44.4,14.4)])
A(barthmanf_a, dualgate, -41.76, 23.76, 0.12, 1.08, 19, 1, 6, 0)
A(barthmanf_a, dualgate, -41.76, 26.16, 0.12, 3.48, 19, 1, 6, 0)
barthmanf_a.add(gdstk.Reference(barthmanf_cell, (-6,-2.4)))
barthmanf_a.add(gdstk.Reference(barthmanf_edge, (-8.4,-2.4)))
barthmanf_a.add(gdstk.Reference(barthmanf_cell, (0,-2.4)))
barthmanf_a.add(gdstk.Reference(barthmanf_cell, (6,-2.4)))
barthmanf_a.add(gdstk.Reference(barthmanf_cell, (12,-2.4)))
barthmanf_a.add(gdstk.Reference(barthmanf_cell, (18,-2.4)))
barthmanf_a.add(gdstk.Reference(barthmanf_cell, (24,-2.4)))
barthmanf_a.add(gdstk.Reference(barthmanf_cell, (30,-2.4)))
barthmanf_a.add(gdstk.Reference(barthmanf_cell, (36,-2.4)))
barthmanf_a.add(gdstk.Reference(barthmanf_cell, (42,-2.4)))
barthmanf_a.add(gdstk.Reference(barthmanf_cell, (-17.4,-2.4), rotation=pi, x_reflection=True))
barthmanf_a.add(gdstk.Reference(barthmanf_cell, (-11.4,-2.4), rotation=pi, x_reflection=True))
barthmanf_a.add(gdstk.Reference(barthmanf_cell, (-5.4,-2.4), rotation=pi, x_reflection=True))
barthmanf_a.add(gdstk.Reference(barthmanf_cell, (0.6,-2.4), rotation=pi, x_reflection=True))
barthmanf_a.add(gdstk.Reference(barthmanf_cell, (6.6,-2.4), rotation=pi, x_reflection=True))
barthmanf_a.add(gdstk.Reference(barthmanf_cell, (12.6,-2.4), rotation=pi, x_reflection=True))
barthmanf_a.add(gdstk.Reference(barthmanf_cell, (18.6,-2.4), rotation=pi, x_reflection=True))
barthmanf_a.add(gdstk.Reference(barthmanf_cell, (24.6,-2.4), rotation=pi, x_reflection=True))
barthmanf_a.add(gdstk.Reference(barthmanf_cell, (30.6,-2.4), rotation=pi, x_reflection=True))
barthmanf_a.add(gdstk.Reference(barthmanf_edge, (33,-2.4), rotation=pi, x_reflection=True))
barthmanf_a.add(gdstk.Label('x', (-46.5,6.9), layer=42, texttype=0))
barthmanf_a.add(gdstk.Label('y', (-46.5,4.5), layer=42, texttype=0))
barthmanf_a.add(gdstk.Label('ip', (-46.5,2.1), layer=42, texttype=10))
barthmanf_a.add(gdstk.Label('im', (-46.5,9.3), layer=42, texttype=10))
barthmanf_a.add(gdstk.Label('op', (-46.5,12.9), layer=42, texttype=10))
barthmanf_a.add(gdstk.Label('om', (-46.5,-1.5), layer=42, texttype=10))
barthmanf_a.add(gdstk.Label('vdd', (-46.5,27.9), layer=42, texttype=10))
barthmanf_a.add(gdstk.Label('gp', (-46.5,23.1), layer=42, texttype=10))
barthmanf_a.add(gdstk.Label('bp', (-46.5,16.5), layer=42, texttype=10))
barthmanf_a.add(gdstk.Label('vreg', (-46.5,24.3), layer=42, texttype=10))
barthmanf_a.add(gdstk.Label('gnd', (-46.5,-7.5), layer=42, texttype=10))

lib.write_gds('barthmanf_a.gds')
